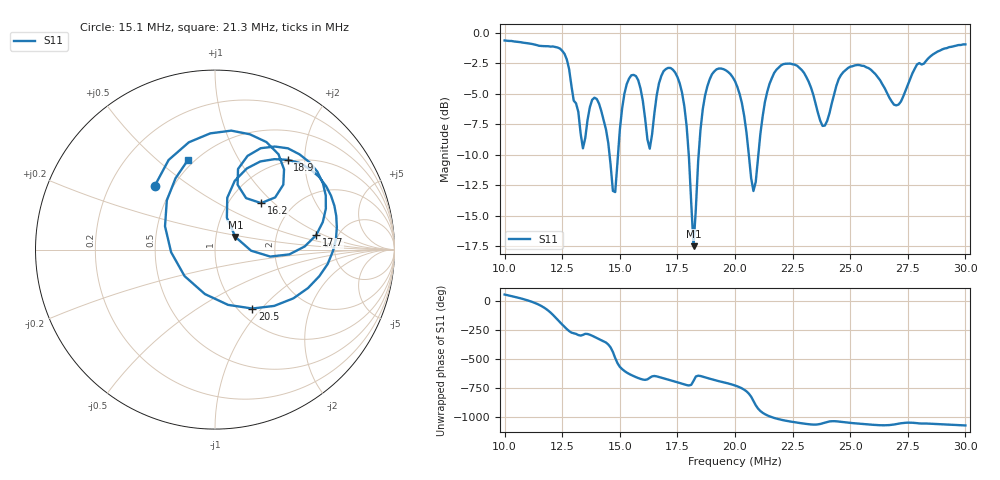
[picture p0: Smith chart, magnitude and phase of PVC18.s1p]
!Keysight Technologies N9916A: A.13.10
!Date: Tuesday, 18 November 2025 13:39:20
!TimeZone: (UTC-06:00) Central Time (US & Canada)!Model: N9916A
!Serial: MY57273160
!GPS Latitude:
!GPS Longitude:
!GPS TimeStamp: 0001-01-01 00:00:00Z
!GPS Seconds Since Last Read: 0
!CHECKSUM:1506351287
!Correction: S11(ON U)
!S1P File: Measurement: S11:
# Hz S DB R 50
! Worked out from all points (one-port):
!   201 points, 10 MHz to 30 MHz, reference 50 ohm
!   lowest |S11| = -17.5 dB at 18.2 MHz (marker M1), VSWR 1.31, Z = 62.1 + j8.93 ohm
!   |S11| at or under -10 dB: 14.55 MHz to 14.92 MHz (368.4 kHz wide, 2.5 % of centre); 17.99 MHz to 18.42 MHz (428.4 kHz wide, 2.35 % of centre); 20.6 MHz to 21.01 MHz (412.3 kHz wide, 1.98 % of centre)
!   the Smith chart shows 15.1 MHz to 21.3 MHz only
!   S11 on the Smith chart (normalised r, x): 15.1 MHz: 0.40, +0.37; 16.2 MHz: 1.40, +0.84; 17.7 MHz: 3.43, +0.80; 18.9 MHz: 0.97, +1.66; 20.5 MHz: 1.16, -0.89; 21.3 MHz: 0.46, +0.63
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1e7  -0.64 51.6
1.12e7  -0.93 -11.8
1.19e7  -1.12 -86.9
1.23e7  -1.22 -163.8
1.25e7  -1.49 154.6
1.29e7  -4.35 85.6
1.34e7  -9.47 66.1
1.41e7  -5.82 30.4
1.47e7  -12.95 -80.1
1.5e7  -7.97 152.8
1.51e7  -6.22 133.5
1.55e7  -3.49 82.2
1.62e7  -8.76 45.2
1.68e7  -3.56 59.8
1.75e7  -3.63 20.3
1.77e7  -4.91 8.0
1.82e7  -17.48 31.9
1.89e7  -3.83 51.0
2e7  -3.97 -7.3
2.05e7  -8.21 -57.6
2.08e7  -12.96 -138.9
2.13e7  -5.67 106.9
2.25e7  -2.59 40.8
2.35e7  -5.82 17.8
2.5e7  -2.79 32.9
2.65e7  -4.56 12.0
2.75e7  -4.29 34.3
3e7  -0.96 10.4
